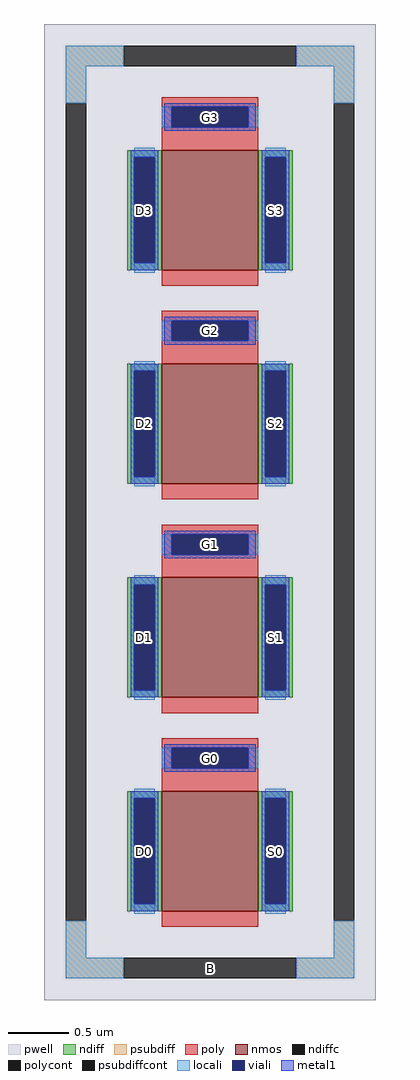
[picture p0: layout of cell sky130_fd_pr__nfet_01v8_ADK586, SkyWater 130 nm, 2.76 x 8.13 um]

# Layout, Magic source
magic
tech sky130A
magscale 1 2
<< pwell >>
rect -276 -813 276 813
<< nmos >>
rect -80 403 80 603
rect -80 47 80 247
rect -80 -309 80 -109
rect -80 -665 80 -465
<< ndiff >>
rect -138 591 -80 603
rect -138 415 -126 591
rect -92 415 -80 591
rect -138 403 -80 415
rect 80 591 138 603
rect 80 415 92 591
rect 126 415 138 591
rect 80 403 138 415
rect -138 235 -80 247
rect -138 59 -126 235
rect -92 59 -80 235
rect -138 47 -80 59
rect 80 235 138 247
rect 80 59 92 235
rect 126 59 138 235
rect 80 47 138 59
rect -138 -121 -80 -109
rect -138 -297 -126 -121
rect -92 -297 -80 -121
rect -138 -309 -80 -297
rect 80 -121 138 -109
rect 80 -297 92 -121
rect 126 -297 138 -121
rect 80 -309 138 -297
rect -138 -477 -80 -465
rect -138 -653 -126 -477
rect -92 -653 -80 -477
rect -138 -665 -80 -653
rect 80 -477 138 -465
rect 80 -653 92 -477
rect 126 -653 138 -477
rect 80 -665 138 -653
<< ndiffc >>
rect -126 415 -92 591
rect 92 415 126 591
rect -126 59 -92 235
rect 92 59 126 235
rect -126 -297 -92 -121
rect 92 -297 126 -121
rect -126 -653 -92 -477
rect 92 -653 126 -477
<< psubdiff >>
rect -240 743 -144 777
rect 144 743 240 777
rect -240 681 -206 743
rect 206 681 240 743
rect -240 -743 -206 -681
rect 206 -743 240 -681
rect -240 -777 -144 -743
rect 144 -777 240 -743
<< psubdiffcont >>
rect -144 743 144 777
rect -240 -681 -206 681
rect 206 -681 240 681
rect -144 -777 144 -743
<< poly >>
rect -80 675 80 691
rect -80 641 -64 675
rect 64 641 80 675
rect -80 603 80 641
rect -80 377 80 403
rect -80 319 80 335
rect -80 285 -64 319
rect 64 285 80 319
rect -80 247 80 285
rect -80 21 80 47
rect -80 -37 80 -21
rect -80 -71 -64 -37
rect 64 -71 80 -37
rect -80 -109 80 -71
rect -80 -335 80 -309
rect -80 -393 80 -377
rect -80 -427 -64 -393
rect 64 -427 80 -393
rect -80 -465 80 -427
rect -80 -691 80 -665
<< polycont >>
rect -64 641 64 675
rect -64 285 64 319
rect -64 -71 64 -37
rect -64 -427 64 -393
<< locali >>
rect -240 743 -144 777
rect 144 743 240 777
rect -240 681 -206 743
rect 206 681 240 743
rect -80 641 -64 675
rect 64 641 80 675
rect -126 591 -92 607
rect -126 399 -92 415
rect 92 591 126 607
rect 92 399 126 415
rect -80 285 -64 319
rect 64 285 80 319
rect -126 235 -92 251
rect -126 43 -92 59
rect 92 235 126 251
rect 92 43 126 59
rect -80 -71 -64 -37
rect 64 -71 80 -37
rect -126 -121 -92 -105
rect -126 -313 -92 -297
rect 92 -121 126 -105
rect 92 -313 126 -297
rect -80 -427 -64 -393
rect 64 -427 80 -393
rect -126 -477 -92 -461
rect -126 -669 -92 -653
rect 92 -477 126 -461
rect 92 -669 126 -653
rect -240 -743 -206 -681
rect 206 -743 240 -681
rect -240 -777 -144 -743
rect 144 -777 240 -743
<< viali >>
rect -64 641 64 675
rect -126 415 -92 591
rect 92 415 126 591
rect -64 285 64 319
rect -126 59 -92 235
rect 92 59 126 235
rect -64 -71 64 -37
rect -126 -297 -92 -121
rect 92 -297 126 -121
rect -64 -427 64 -393
rect -126 -653 -92 -477
rect 92 -653 126 -477
<< metal1 >>
rect -76 675 76 681
rect -76 641 -64 675
rect 64 641 76 675
rect -76 635 76 641
rect -132 591 -86 603
rect -132 415 -126 591
rect -92 415 -86 591
rect -132 403 -86 415
rect 86 591 132 603
rect 86 415 92 591
rect 126 415 132 591
rect 86 403 132 415
rect -76 319 76 325
rect -76 285 -64 319
rect 64 285 76 319
rect -76 279 76 285
rect -132 235 -86 247
rect -132 59 -126 235
rect -92 59 -86 235
rect -132 47 -86 59
rect 86 235 132 247
rect 86 59 92 235
rect 126 59 132 235
rect 86 47 132 59
rect -76 -37 76 -31
rect -76 -71 -64 -37
rect 64 -71 76 -37
rect -76 -77 76 -71
rect -132 -121 -86 -109
rect -132 -297 -126 -121
rect -92 -297 -86 -121
rect -132 -309 -86 -297
rect 86 -121 132 -109
rect 86 -297 92 -121
rect 126 -297 132 -121
rect 86 -309 132 -297
rect -76 -393 76 -387
rect -76 -427 -64 -393
rect 64 -427 76 -393
rect -76 -433 76 -427
rect -132 -477 -86 -465
rect -132 -653 -126 -477
rect -92 -653 -86 -477
rect -132 -665 -86 -653
rect 86 -477 132 -465
rect 86 -653 92 -477
rect 126 -653 132 -477
rect 86 -665 132 -653
<< labels >>
rlabel psubdiffcont 0 -760 0 -760 0 B
port 1 nsew
rlabel ndiffc -109 -565 -109 -565 0 D0
port 2 nsew
rlabel ndiffc 109 -565 109 -565 0 S0
port 3 nsew
rlabel polycont 0 -410 0 -410 0 G0
port 4 nsew
rlabel ndiffc -109 -209 -109 -209 0 D1
port 5 nsew
rlabel ndiffc 109 -209 109 -209 0 S1
port 6 nsew
rlabel polycont 0 -54 0 -54 0 G1
port 7 nsew
rlabel ndiffc -109 147 -109 147 0 D2
port 8 nsew
rlabel ndiffc 109 147 109 147 0 S2
port 9 nsew
rlabel polycont 0 302 0 302 0 G2
port 10 nsew
rlabel ndiffc -109 503 -109 503 0 D3
port 11 nsew
rlabel ndiffc 109 503 109 503 0 S3
port 12 nsew
rlabel polycont 0 658 0 658 0 G3
port 13 nsew
<< properties >>
string FIXED_BBOX -223 -760 223 760
string gencell sky130_fd_pr__nfet_01v8
string library sky130
string parameters w 1.0 l 0.8 m 4 nf 1 diffcov 100 polycov 100 guard 1 glc 1 grc 1 gtc 1 gbc 1 tbcov 100 rlcov 100 topc 1 botc 0 poverlap 0 doverlap 1 lmin 0.15 wmin 0.42 class mosfet compatible {sky130_fd_pr__nfet_01v8 sky130_fd_pr__nfet_01v8_lvt  sky130_fd_bs_flash__special_sonosfet_star  sky130_fd_pr__nfet_g5v0d10v5 sky130_fd_pr__nfet_05v0_nvt  sky130_fd_pr__nfet_03v3_nvt} full_metal 1 conn_gates 0 viasrc 100 viadrn 100 viagate 100 viagb 0 viagr 0 viagl 0 viagt 0 doports 1
<< end >>
